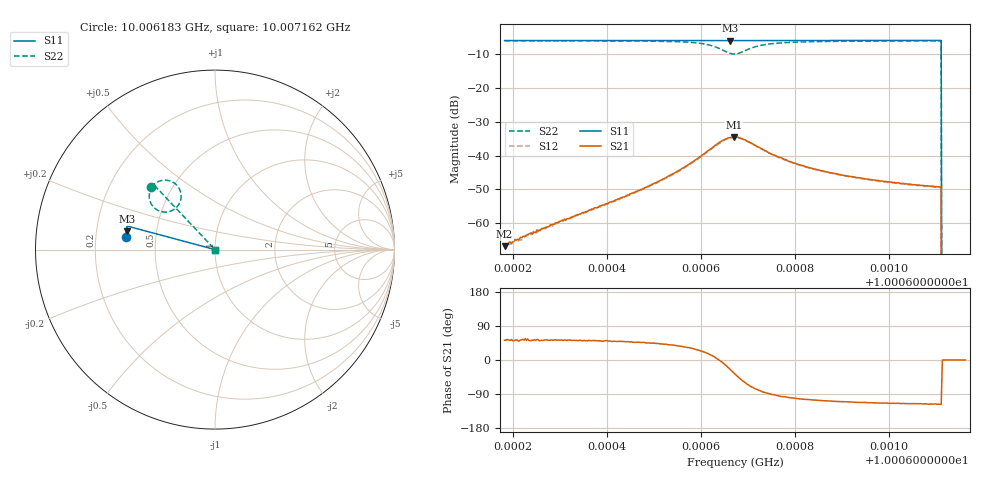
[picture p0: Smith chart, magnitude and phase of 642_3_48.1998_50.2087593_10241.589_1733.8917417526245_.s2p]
#  HZ  S  RI  R  50.00
! Rohde & Schwarz Vector Network Analyzer
! Rohde-Schwarz,ZNB20-2Port,1311601062101988,3.16
! Created: UTC 3/20/2024, 12:04:52 PM
! freq[Hz]  re:S11  im:S11  re:S21  im:S21  re:S12  im:S12  re:S22  im:S22
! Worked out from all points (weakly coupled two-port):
!   401 points, 10.006183 GHz to 10.007162 GHz, reference 50 ohm
!   highest |S21| = -34.47 dB at 10.00667 GHz (marker M1); lowest = -66.8 dB at 10.006183 GHz (marker M2)
!   lowest |S11| = -6.0 dB at 10.006663 GHz (marker M3), VSWR 3.02, Z = 16.7 + j4.58 ohm
!   |S11| at or under -10 dB: 10.007111 GHz to end of sweep
!   |S22| runs from - to -6.0 dB; largest |S21 - S12| = 0.0014
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1.00061831e10  -0.4983 0.0721  0.00028 0.000361  0.000262 0.000375  -0.3579 0.348
1.00062052e10  -0.4982 0.0735  0.000344 0.000446  0.000328 0.000481  -0.3562 0.3497
1.00062174e10  -0.498 0.0743  0.000371 0.000496  0.000305 0.000473  -0.3554 0.3507
1.00062345e10  -0.4979 0.0754  0.000428 0.00055  0.000425 0.000547  -0.3542 0.3519
1.00063471e10  -0.4969 0.0829  0.000882 0.0011  0.000783 0.00108  -0.3436 0.3615
1.00064426e10  -0.4959 0.089  0.00171 0.00192  0.00158 0.00195  -0.3298 0.372
1.00065111e10  -0.4953 0.0936  0.00307 0.00286  0.00284 0.00292  -0.3119 0.3807
1.00065698e10  -0.4944 0.0976  0.00588 0.0039  0.00556 0.00413  -0.2803 0.3872
1.00066114e10  -0.4934 0.1003  0.0106 0.00365  0.0101 0.00409  -0.2347 0.3758
1.00066408e10  -0.4924 0.1018  0.0159 -0.000491  0.0153 0.000436  -0.1937 0.3274
1.00066628e10  -0.4918 0.1025  0.0168 -0.00801  0.0169 -0.00683  -0.1991 0.2559
1.00066702e10  -0.4919 0.1028  0.0156 -0.0106  0.0158 -0.00937  -0.2154 0.2341
1.00066726e10  -0.4919 0.1027  0.015 -0.0114  0.0154 -0.0102  -0.2222 0.2282
1.00066922e10  -0.4921 0.1037  0.00916 -0.0146  0.01 -0.014  -0.2844 0.209
1.00067289e10  -0.4924 0.106  0.00162 -0.0125  0.00224 -0.0123  -0.3508 0.2473
1.00067705e10  -0.4926 0.1088  -0.00109 -0.00925  -0.00043 -0.00897  -0.3658 0.2877
1.00068366e10  -0.4917 0.1132  -0.00171 -0.00624  -0.00134 -0.00622  -0.3638 0.3202
1.00069125e10  -0.4907 0.1183  -0.00173 -0.00467  -0.00148 -0.00468  -0.3569 0.3387
1.00070006e10  -0.4896 0.124  -0.00168 -0.00373  -0.00146 -0.00371  -0.3498 0.3516
1.00071058e10  -0.488 0.1306  -0.00155 -0.00308  -0.00137 -0.00308  -0.3423 0.3621
1.0007118e10  0 0  0 0  0 0  0 0
1.00071621e10  0 0  0 0  0 0  0 0
